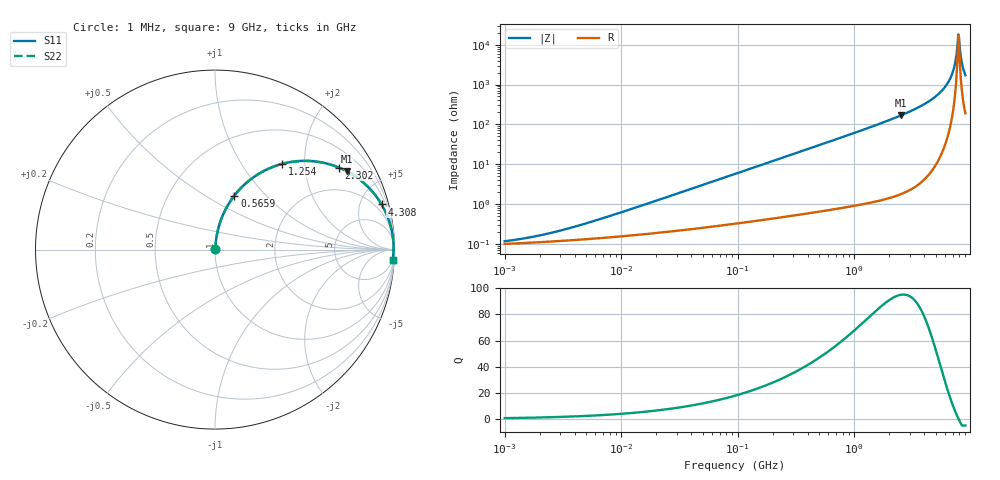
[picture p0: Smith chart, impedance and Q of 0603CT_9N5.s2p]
# MHz  S  MA  R  50
!Freq  MagS11  AngS11  MagS21  AngS21  MagS12  AngS12  MagS22  AngS22
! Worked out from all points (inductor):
!   917 points, 1 MHz to 9 GHz, reference 50 ohm
!   read as one part in series: L = 9.5 nH near 7.101 MHz
!   highest Q = 95 at 2.517 GHz (marker M1), where L = 10.6 nH
!   self-resonance near 7.826 GHz
!   S11 on the Smith chart (normalised r, x): 1 MHz: 1.00, +0.00; 565.9 MHz: 1.01, +0.68; 1.254 GHz: 1.02, +1.54; 2.302 GHz: 1.03, +3.01; 4.308 GHz: 1.10, +7.35; 9 GHz: 5, -34
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1  0.001156 31.0  0.999 -0.0  0.999 -0.0  0.001156 31.0
2.047099  0.001642 48.0  0.9989 -0.1  0.9989 -0.1  0.001642 48.0
4.583215  0.003015 64.8  0.9987 -0.2  0.9987 -0.2  0.003015 64.8
21.00586  0.01266 80.7  0.998 -0.7  0.998 -0.7  0.01266 80.7
95.32113  0.05672 83.5  0.9952 -3.2  0.9952 -3.2  0.05672 83.5
436.8772  0.2517 74.1  0.962 -14.6  0.962 -14.6  0.2517 74.1
565.868  0.3196 70.2  0.9412 -18.6  0.9412 -18.6  0.3196 70.2
850.9253  0.4542 62.1  0.8836 -27.0  0.8836 -27.0  0.4542 62.1
1254.368  0.6054 52.0  0.7879 -37.3  0.7879 -37.3  0.6054 52.0
1982.477  0.78 38.1  0.6172 -51.3  0.6172 -51.3  0.78 38.1
2301.594  0.8285 33.5  0.5513 -55.9  0.5513 -55.9  0.8285 33.5
2517.22  0.8546 30.7  0.5104 -58.7  0.5104 -58.7  0.8546 30.7
4307.997  0.9615 15.2  0.2615 -74.0  0.2615 -74.0  0.9615 15.2
5470.013  0.9841 8.9  0.1554 -79.7  0.1554 -79.7  0.9841 8.9
6478.16  0.9924 4.7  0.08229 -82.3  0.08229 -82.3  0.9924 4.7
7155.919  0.9945 2.3  0.04 -81.0  0.04 -81.0  0.9945 2.3
7372.75  0.9948 1.5  0.02747 -78.3  0.02747 -78.3  0.9948 1.5
7596.152  0.9949 0.8  0.01522 -69.8  0.01522 -69.8  0.9949 0.8
7826.323  0.9948 0.1  0.005508 -17.9  0.005508 -17.9  0.9948 0.1
8063.469  0.9945 -0.6  0.01224 62.9  0.01224 62.9  0.9945 -0.6
8474.787  0.9936 -1.8  0.03257 77.8  0.03257 77.8  0.9936 -1.8
9000  0.9919 -3.3  0.0579 80.4  0.0579 80.4  0.9919 -3.3
